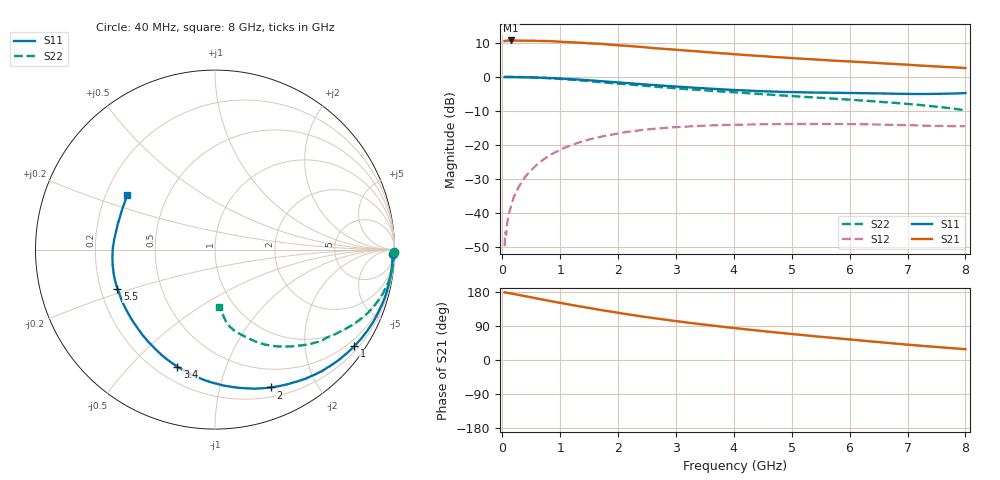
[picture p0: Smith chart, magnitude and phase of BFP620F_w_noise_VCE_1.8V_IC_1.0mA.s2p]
! Infineon Technologies  Discrete & RF Semiconductors
! BFP620F
! VCE =  1.8 V,  IC =  1.0 mA
! Common Emitter S-Parameters:  Dec 2014
# GHz  S  MA  R  50
!  f  S11  S21  S12  S22
! GHz  MAG  ANG  MAG  ANG  MAG  ANG  MAG  ANG
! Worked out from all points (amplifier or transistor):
!   94 points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, 40 MHz to 8 GHz, reference 50 ohm
!   highest |S21| = 10.7 dB at 150 MHz (marker M1)
!   |S21| within 3 dB of that: start of sweep to 3.192 GHz
!   unconditionally stable (mu >= 1): 7.045 GHz to end of sweep
!   at 350 MHz: K = 0.00, MSG = 20.6 dB, |S12| = -30.6 dB
!   at 3.4 GHz: K = 0.46, MSG = 11.0 dB, |S12| = -14.5 dB
!   at 8 GHz: K = 1.17, MAG = 6.1 dB, |S12| = -14.6 dB
!   lowest NFmin = 0.63 dB at 450 MHz
!   S11 on the Smith chart (normalised r, x): 40 MHz: 24, -74; 1 GHz: 0.32, -3.16; 2 GHz: 0.30, -1.44; 3.4 GHz: 0.28, -0.69; 5.5 GHz: 0.27, -0.18; 8 GHz: 0.29, +0.26
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0.04  0.992 -1.4  3.364 178.4  0.0032 80.4  0.9995 -0.9
0.05  0.993 -1.9  3.384 178.3  0.0051 69.5  1 -1.1
0.07  0.9912 -2.4  3.396 177.9  0.0047 85.9  0.9978 -1.5
0.08  0.9926 -2.8  3.396 177.6  0.0064 86.7  0.9988 -1.8
0.09  0.9909 -3.1  3.424 177.3  0.0075 88.7  0.9993 -2.0
0.15  0.9903 -5.2  3.437 175.7  0.0126 89.4  0.9986 -3.2
0.25  0.9887 -8.7  3.431 172.7  0.0209 85.3  0.9954 -5.4
0.4  0.9847 -14.0  3.413 168.2  0.0342 82.5  0.9881 -8.6
0.8  0.9618 -28.0  3.368 156.5  0.0681 73.3  0.9557 -16.7
1  0.9447 -34.8  3.291 150.8  0.0841 68.7  0.9333 -20.7
1.4  0.9021 -48.5  3.165 139.9  0.1129 59.4  0.8786 -28.0
1.7  0.8639 -58.5  3.066 131.9  0.1307 53.0  0.8341 -33.2
2  0.828 -68.0  2.921 124.6  0.1461 47.2  0.7921 -38.3
2.4  0.7811 -80.3  2.758 115.1  0.164 39.8  0.7464 -44.9
2.7  0.7493 -88.8  2.62 108.8  0.1737 35.1  0.7099 -48.9
3.4  0.6843 -107.8  2.367 95.0  0.189 25.5  0.6406 -57.3
4.1  0.6351 -125.3  2.13 82.7  0.1977 17.6  0.586 -63.5
4.6  0.6093 -137.5  1.988 74.7  0.2007 12.9  0.5487 -67.2
5.4  0.5863 -156.1  1.807 62.7  0.2022 6.4  0.4962 -72.9
5.5  0.5856 -158.1  1.779 61.3  0.2024 5.6  0.491 -73.4
6.7  0.5659 176.3  1.559 44.6  0.1965 -2.0  0.418 -80.6
8  0.5768 148.1  1.35 28.5  0.1871 -5.7  0.3216 -85.6
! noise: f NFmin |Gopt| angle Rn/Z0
0.45  0.63  0.7  11  0.33
0.9  0.82  0.71  21  0.28
1.5  0.98  0.64  33  0.28
1.8  1.05  0.63  37  0.28
1.9  1.07  0.6  46  0.29
2.4  1.19  0.58  59  0.27
3.5  1.44  0.56  83  0.2
5.5  1.85  0.41  143  0.17
6  1.94  0.29  161  0.33
